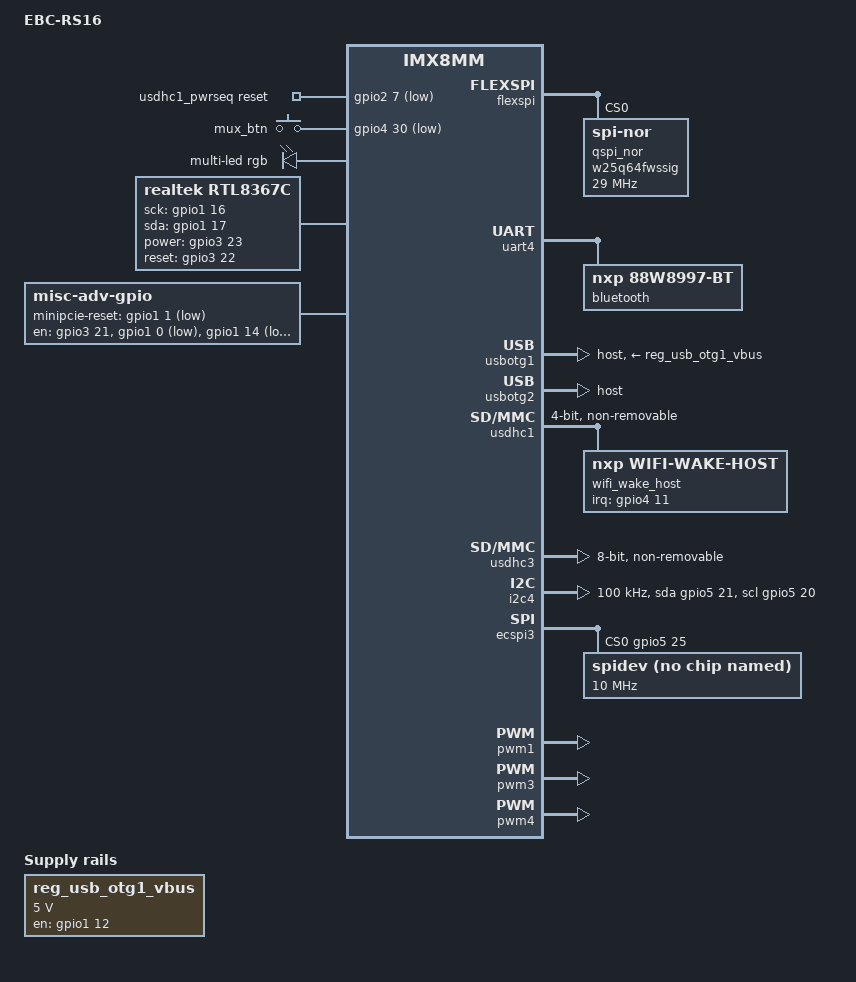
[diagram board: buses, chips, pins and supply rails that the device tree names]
// SPDX-License-Identifier: (GPL-2.0+ OR MIT)
/*
 * Copyright 2019-2020 NXP
 */

/dts-v1/;

#include <dt-bindings/usb/pd.h>
#include <dt-bindings/leds/common.h>
#include "imx8mm-ebcrs16-a1.dtsi"

/ {
	model = "EBC-RS16";
	compatible = "fsl,imx8mm-evk", "fsl,imx8mm";

	board {
		compatible = "proc-board";
		board-type = "EBC-RS16 A1";
		board-cpu = "IMX8MM";
	};

	aliases {
        rtc0 = &s35390a;
        rtc1 = &snvs_rtc;
	};

	reg_usb_otg1_vbus: regulator-vbus {
		compatible = "regulator-fixed";
		regulator-name = "usb_otg1_vbus";
		regulator-min-microvolt = <5000000>;
		regulator-max-microvolt = <5000000>;
		gpio = <&gpio1 12 GPIO_ACTIVE_HIGH>;
		enable-active-high;
	};

	usdhc1_pwrseq: usdhc1_pwrseq {
		compatible = "mmc-pwrseq-simple";
		reset-gpios = <&gpio2 7 GPIO_ACTIVE_LOW>;
		post-power-on-delay-ms = <100>;
	};

    gpio-keys {
       compatible = "gpio-keys";
       pinctrl-0 = <&pinctrl_btn>;
       status = "okay";

       user-mux {
           label = "mux_btn";
           gpios = <&gpio4 30 GPIO_ACTIVE_LOW>;
           debounce-interval = <100>; //ms
           linux,code = < //start  release   event
							1  	   5		KEY_F11
							5  	   9		KEY_F12
							9  	   0xffff	KEY_POWER
			>;
       };
    };

	led-controller {
        compatible = "pwm-leds-multicolor";
        status = "okay";

        multi-led {
            color = <LED_COLOR_ID_RGB>;
            max-brightness = <255>;
            label = "multi-led";

			led-red {
				color = <LED_COLOR_ID_RED>;
				pwms = <&pwm4 0 1000000 0>;
			};

			led-green {
				color = <LED_COLOR_ID_GREEN>;
				pwms = <&pwm3 0 1000000 0>;
				default-state = "on";
			};

			led-blue {
				color = <LED_COLOR_ID_BLUE>;
				pwms = <&pwm1 0 1000000 0>;
			};
		};
    };

	rtl8367c:rtl8367c {
		compatible = "realtek,rtl8367c";
		pinctrl-names = "default";
		pinctrl-0 = <&pinctrl_switch>;
		gpio-sck = <&gpio1 16 GPIO_ACTIVE_HIGH>;
		gpio-sda = <&gpio1 17 GPIO_ACTIVE_HIGH>;
		power-gpio = <&gpio3 23 GPIO_ACTIVE_HIGH>;
		reset-gpio = <&gpio3 22 GPIO_ACTIVE_HIGH>;
		status = "okay";
	};

	misc-adv-gpio {
		compatible = "misc-adv-gpio";
		pinctrl-names = "default";
		pinctrl-0 = <&adv_gpio_pinmux>;
		status = "okay";
		// minipcie-pwr-gpio = <&gpio3 21 GPIO_ACTIVE_HIGH>;
		minipcie-reset-gpio = <&gpio1 1 GPIO_ACTIVE_LOW>;
		en-gpios =<&gpio3 21 GPIO_ACTIVE_HIGH>, <&gpio1 0 GPIO_ACTIVE_LOW>,<&gpio1 14 GPIO_ACTIVE_LOW>,<&gpio5 1 GPIO_ACTIVE_LOW>;
		timing-interval = <300>;
	};
};

&flexspi {
	pinctrl-names = "default";
	pinctrl-0 = <&pinctrl_flexspi>;
	status = "okay";

	qspi_nor: w25q64fwssig@0 {
        reg = <0>;
        #address-cells = <1>;
        #size-cells = <1>;
        compatible = "jedec,spi-nor", "winbond,w25q64";
        spi-max-frequency = <29000000>;
        spi-nor,quad-read = <4>;
    };
};

&uart4 { /* M4 debug */
	pinctrl-names = "default";
	pinctrl-0 = <&pinctrl_uart4>;
	assigned-clocks = <&clk IMX8MM_CLK_UART4>;
	assigned-clock-parents = <&clk IMX8MM_SYS_PLL1_80M>;
	fsl,uart-has-rtscts;
	status = "okay";

	bluetooth {
		compatible = "nxp,88w8997-bt";
	};
};

&usbotg1 {
	pinctrl-names = "default";
	pinctrl-0 = <&pinctrl_usbotg>;
	vbus-supply = <&reg_usb_otg1_vbus>;
	dr_mode = "host";
	samsung,picophy-pre-emp-curr-control = <3>;
	samsung,picophy-dc-vol-level-adjust = <7>;
	status = "okay";
};

&usbotg2 {
	dr_mode = "host";
	status = "okay";
};

&usdhc1 { /* wifi bt */
	pinctrl-names = "default", "state_100mhz", "state_200mhz";
	pinctrl-0 = <&pinctrl_usdhc1>, <&pinctrl_usdhc1_gpio>;
	pinctrl-1 = <&pinctrl_usdhc1_100mhz>, <&pinctrl_usdhc1_gpio>;
	pinctrl-2 = <&pinctrl_usdhc1_200mhz>, <&pinctrl_usdhc1_gpio>;
	bus-width = <4>;
	pm-ignore-notify;
	keep-power-in-suspend;
	non-removable;
	fsl,sdio-async-interrupt-enabled;
	wakeup-source;
	mmc-pwrseq = <&usdhc1_pwrseq>;
	keep-power-in-suspend;
	m2-pwr-en = <&gpio3 20 GPIO_ACTIVE_HIGH>;
	// wake-in = <&gpio4 10 GPIO_ACTIVE_HIGH>;
	status = "okay";

	wifi_wake_host {
		compatible = "nxp,wifi-wake-host";
		interrupt-parent = <&gpio4>;
		interrupts = <11 IRQ_TYPE_LEVEL_LOW>;
		interrupt-names = "host-wake";
	};
};

&usdhc3 {
	assigned-clocks = <&clk IMX8MM_CLK_USDHC3_ROOT>;
	assigned-clock-rates = <400000000>;
	pinctrl-names = "default", "state_100mhz", "state_200mhz";
	pinctrl-0 = <&pinctrl_usdhc3>;
	pinctrl-1 = <&pinctrl_usdhc3_100mhz>;
	pinctrl-2 = <&pinctrl_usdhc3_200mhz>;
	bus-width = <8>;
	non-removable;
	cqe-disabled;
	status = "okay";
};

&i2c4 {
	clock-frequency = <100000>;
	pinctrl-names = "default", "gpio";
	pinctrl-0 = <&pinctrl_i2c4>;
    pinctrl-1 = <&pinctrl_i2c4_gpio>;
    scl-gpios = <&gpio5 20 GPIO_ACTIVE_HIGH>;
    sda-gpios = <&gpio5 21 GPIO_ACTIVE_HIGH>;
	status = "okay";
};

&ecspi3 {
    cs-gpios = <&gpio5 25 0>;
    pinctrl-names = "default";
    pinctrl-0 = <&pinctrl_ecspi3>;
    status = "okay";

    spidev@0 {
		compatible = "rohm,dh2228fv";
		reg = <0>;
		spi-max-frequency = <10000000>;
    };
};

&pwm1 {
    status = "okay";
    pinctrl-names = "default";
    pinctrl-0 = <&pinctrl_pwm1>;
};

&pwm3 {
    status = "okay";
    pinctrl-names = "default";
    pinctrl-0 = <&pinctrl_pwm3>;
};

&pwm4 {
    status = "okay";
    pinctrl-names = "default";
    pinctrl-0 = <&pinctrl_pwm4>;
};

&iomuxc {
	pinctrl_switch: switch {
		fsl,pins = <
			MX8MM_IOMUXC_ENET_MDC_GPIO1_IO16	0x19	/* SCL */
			MX8MM_IOMUXC_ENET_MDIO_GPIO1_IO17	0x19	/* SDA */
			MX8MM_IOMUXC_SAI5_RXD1_GPIO3_IO22	0x19	/* LAN_SW_REST */
			MX8MM_IOMUXC_SAI5_RXD2_GPIO3_IO23	0x19	/* LAN_SW_PWR_EN */
		>;
	};

	adv_gpio_pinmux: advgpio {
		fsl,pins = <
			MX8MM_IOMUXC_SAI5_RXD0_GPIO3_IO21		0x19	/* W_DISABLE */
			MX8MM_IOMUXC_GPIO1_IO00_GPIO1_IO0		0x19	/* Pcie  ENABLE_LTE */
			MX8MM_IOMUXC_GPIO1_IO01_GPIO1_IO1		0x19	/* PCIE_DIS_B */
			MX8MM_IOMUXC_SAI3_TXD_GPIO5_IO1		0x19	/* USBLAN_Z_RESET */
			MX8MM_IOMUXC_GPIO1_IO14_GPIO1_IO14		0x19	/* USBLAN_PWR_EN */
		>;
	};

	pinctrl_i2c4: i2c4grp {
		fsl,pins = <
			MX8MM_IOMUXC_I2C4_SCL_I2C4_SCL			0x400001c3	/* I2C_GP_CK */
			MX8MM_IOMUXC_I2C4_SDA_I2C4_SDA			0x400001c3	/* I2C_GP_DAT */
		>;
	};

	pinctrl_i2c1_gpio: i2c1_gpio_grp {
		fsl,pins = <
			MX8MM_IOMUXC_I2C1_SCL_GPIO5_IO14		0x19
			MX8MM_IOMUXC_I2C1_SDA_GPIO5_IO15		0x19
		>;
	};

	pinctrl_i2c2_gpio: i2c2_gpio_grp {
		fsl,pins = <
			MX8MM_IOMUXC_I2C2_SCL_GPIO5_IO16		0x19
			MX8MM_IOMUXC_I2C2_SDA_GPIO5_IO17		0x19
		>;
	};

	pinctrl_i2c3_gpio: i2c3_gpio_grp {
		fsl,pins = <
			MX8MM_IOMUXC_I2C3_SCL_GPIO5_IO18		0x19
			MX8MM_IOMUXC_I2C3_SDA_GPIO5_IO19		0x19
		>;
	};

	pinctrl_i2c4_gpio: i2c4_gpio_grp {
		fsl,pins = <
			MX8MM_IOMUXC_I2C4_SCL_GPIO5_IO20		0x19
			MX8MM_IOMUXC_I2C4_SDA_GPIO5_IO21		0x19
		>;
	};

	pinctrl_uart4: uart4grp {
		fsl,pins = <
			MX8MM_IOMUXC_UART4_RXD_UART4_DCE_RX	0x140
			MX8MM_IOMUXC_UART4_TXD_UART4_DCE_TX	0x140
			MX8MM_IOMUXC_ECSPI2_SS0_UART4_DCE_RTS_B		0x140
			MX8MM_IOMUXC_ECSPI2_MISO_UART4_DCE_CTS_B		0x140
		>;
	};

	pinctrl_flexspi: flexspigrp {
		fsl,pins = <
			MX8MM_IOMUXC_NAND_ALE_QSPI_A_SCLK               0x1c2
			MX8MM_IOMUXC_NAND_CE0_B_QSPI_A_SS0_B            0x82
			MX8MM_IOMUXC_NAND_DATA00_QSPI_A_DATA0           0x82
			MX8MM_IOMUXC_NAND_DATA01_QSPI_A_DATA1           0x82
			MX8MM_IOMUXC_NAND_DATA02_QSPI_A_DATA2           0x82
			MX8MM_IOMUXC_NAND_DATA03_QSPI_A_DATA3           0x82
		>;
	};

	pinctrl_usdhc3: usdhc3grp {
		fsl,pins = <
			MX8MM_IOMUXC_NAND_WE_B_USDHC3_CLK		0x190	/* SD3_CLK */
			MX8MM_IOMUXC_NAND_WP_B_USDHC3_CMD		0x1d0	/* SD3_CMD */
			MX8MM_IOMUXC_NAND_DATA04_USDHC3_DATA0		0x1d0	/* SD3_DATA0 */
			MX8MM_IOMUXC_NAND_DATA05_USDHC3_DATA1		0x1d0	/* SD3_DATA1 */
			MX8MM_IOMUXC_NAND_DATA06_USDHC3_DATA2		0x1d0	/* SD3_DATA2 */
			MX8MM_IOMUXC_NAND_DATA07_USDHC3_DATA3		0x1d0	/* SD3_DATA3 */
			MX8MM_IOMUXC_NAND_RE_B_USDHC3_DATA4		0x1d0	/* SD3_DATA4 */
			MX8MM_IOMUXC_NAND_CE2_B_USDHC3_DATA5		0x1d0	/* SD3_DATA5 */
			MX8MM_IOMUXC_NAND_CE3_B_USDHC3_DATA6		0x1d0	/* SD3_DATA6 */
			MX8MM_IOMUXC_NAND_CLE_USDHC3_DATA7		0x1d0	/* SD3_DATA7 */
			MX8MM_IOMUXC_NAND_CE1_B_USDHC3_STROBE 		0x190	/* SD3_STORBE */
		>;
	};

	pinctrl_usdhc3_100mhz: usdhc3-100mhzgrp {
		fsl,pins = <
			MX8MM_IOMUXC_NAND_WE_B_USDHC3_CLK               0x194
			MX8MM_IOMUXC_NAND_WP_B_USDHC3_CMD               0x1d4
			MX8MM_IOMUXC_NAND_DATA04_USDHC3_DATA0           0x1d4
			MX8MM_IOMUXC_NAND_DATA05_USDHC3_DATA1           0x1d4
			MX8MM_IOMUXC_NAND_DATA06_USDHC3_DATA2           0x1d4
			MX8MM_IOMUXC_NAND_DATA07_USDHC3_DATA3           0x1d4
			MX8MM_IOMUXC_NAND_RE_B_USDHC3_DATA4             0x1d4
			MX8MM_IOMUXC_NAND_CE2_B_USDHC3_DATA5            0x1d4
			MX8MM_IOMUXC_NAND_CE3_B_USDHC3_DATA6            0x1d4
			MX8MM_IOMUXC_NAND_CLE_USDHC3_DATA7              0x1d4
			MX8MM_IOMUXC_NAND_CE1_B_USDHC3_STROBE           0x194
		>;
	};

	pinctrl_usdhc3_200mhz: usdhc3-200mhzgrp {
		fsl,pins = <
			MX8MM_IOMUXC_NAND_WE_B_USDHC3_CLK               0x196
			MX8MM_IOMUXC_NAND_WP_B_USDHC3_CMD               0x1d6
			MX8MM_IOMUXC_NAND_DATA04_USDHC3_DATA0           0x1d6
			MX8MM_IOMUXC_NAND_DATA05_USDHC3_DATA1           0x1d6
			MX8MM_IOMUXC_NAND_DATA06_USDHC3_DATA2           0x1d6
			MX8MM_IOMUXC_NAND_DATA07_USDHC3_DATA3           0x1d6
			MX8MM_IOMUXC_NAND_RE_B_USDHC3_DATA4             0x1d6
			MX8MM_IOMUXC_NAND_CE2_B_USDHC3_DATA5            0x1d6
			MX8MM_IOMUXC_NAND_CE3_B_USDHC3_DATA6            0x1d6
			MX8MM_IOMUXC_NAND_CLE_USDHC3_DATA7              0x1d6
			MX8MM_IOMUXC_NAND_CE1_B_USDHC3_STROBE           0x196
		>;
	};

    pinctrl_tpm: tpm_grp {
            fsl,pins = <
		MX8MM_IOMUXC_ECSPI1_MOSI_GPIO5_IO7		0x159	/* TPM_IRQ */
            >;
    };

    pinctrl_usbotg: usbotggrp {
            fsl,pins = <
		MX8MM_IOMUXC_GPIO1_IO12_GPIO1_IO12		0x19	/* USB1_OTG_EN */
            >;
    };

	pinctrl_ecspi3: ecspi3grp {
                fsl,pins = <
			MX8MM_IOMUXC_UART1_RXD_ECSPI3_SCLK		0x82	/* ECSPI3_SCLK */
			MX8MM_IOMUXC_UART1_TXD_ECSPI3_MOSI		0x82	/* ECSPI3_MOSI */
			MX8MM_IOMUXC_UART2_RXD_ECSPI3_MISO		0x82	/* ECSPI3_MISO */
			MX8MM_IOMUXC_UART2_TXD_GPIO5_IO25		0x19	/* ECSPI3_SS0 */
			MX8MM_IOMUXC_ECSPI1_SCLK_GPIO5_IO6		0x19	/* INT */
                >;
        };

    pinctrl_btn: btngrp {
            fsl,pins = <
                    MX8MM_IOMUXC_SAI3_RXD_GPIO4_IO30		0x116    /* BTN_IN_CPU */
            >;
    };

    pinctrl_wdt_en_1: wdt_engrp-1 {
            fsl,pins = <
                    MX8MM_IOMUXC_GPIO1_IO09_GPIO1_IO9		0x19    /* WDT_EN */
            >;
    };

    pinctrl_wdt_ping_1: wdt_pinggrp-1 {
            fsl,pins = <
                    MX8MM_IOMUXC_GPIO1_IO15_GPIO1_IO15		0x19    /* WDOG_TRIG */
                    >;
    };

	pinctrl_pwm1: pwm1grp {
                fsl,pins = <
                        MX8MM_IOMUXC_SPDIF_EXT_CLK_PWM1_OUT         0x06	/* LCD1_BKLT_PWM */
                >;
        };

	pinctrl_pwm3: pwm3grp {
                fsl,pins = <
                        MX8MM_IOMUXC_SPDIF_TX_PWM3_OUT         0x06	/* LCD1_BKLT_PWM */
                >;
        };

	pinctrl_pwm4: pwm4grp {
                fsl,pins = <
                        MX8MM_IOMUXC_SAI3_MCLK_PWM4_OUT         0x06	/* LCD0_BKLT_PWM */
                >;
        };
};
